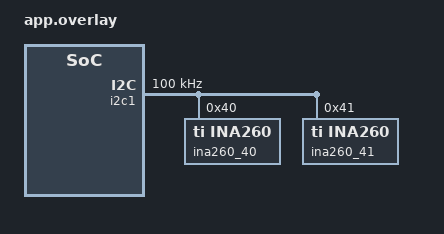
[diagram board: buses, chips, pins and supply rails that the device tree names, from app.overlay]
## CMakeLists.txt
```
cmake_minimum_required(VERSION 3.20.0)
find_package(Zephyr REQUIRED HINTS $ENV{ZEPHYR_BASE})
project(kleo_ina260_sample)
target_sources(app PRIVATE src/main.c)
```

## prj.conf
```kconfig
CONFIG_I2C=y
CONFIG_SENSOR=y
CONFIG_KLEO_INA260=y
CONFIG_INA219=n
CONFIG_PRINTK=y
CONFIG_LORA=n
CONFIG_LORA_SX127X=n
CONFIG_LSM6DSO=n
CONFIG_LSM6DSO_ENABLE_TEMP=n
CONFIG_LIS2MDL=n
CONFIG_TMP112=n
CONFIG_VEML6031=n
CONFIG_RTC=n
CONFIG_RTC_RV3028=n
CONFIG_I2C_TCA954X=n
```

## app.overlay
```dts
&ina219_0 { status = "disabled"; };
&ina219_1 { status = "disabled"; };
&lsm6dso0 { status = "disabled"; };
&lis2mdl0 { status = "disabled"; };
&rtc0 { status = "disabled"; };
&mcp23017 { status = "disabled"; };
&i2c1 {
    status = "okay";
    clock-frequency = <100000>;
    ina260_40: ina260@40 { compatible = "ti,ina260"; reg = <0x40>; };
    ina260_41: ina260@41 { compatible = "ti,ina260"; reg = <0x41>; };
};
```

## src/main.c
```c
/* Build/test candidate only: inherited board startup and deployment need review. */
#include <zephyr/device.h>
#include <zephyr/drivers/sensor.h>
#include <zephyr/kernel.h>
#include <zephyr/sys/printk.h>

static void report(const struct device *dev, unsigned int address)
{
    if (!device_is_ready(dev)) {
        printk("0x%02x: initialization failed; no valid readings\n", address);
        return;
    }
    struct sensor_value v, i, p;
    int rc = sensor_sample_fetch(dev);
    if (rc == 0) { rc = sensor_channel_get(dev, SENSOR_CHAN_VOLTAGE, &v); }
    if (rc == 0) { rc = sensor_channel_get(dev, SENSOR_CHAN_CURRENT, &i); }
    if (rc == 0) { rc = sensor_channel_get(dev, SENSOR_CHAN_POWER, &p); }
    if (rc != 0) {
        printk("0x%02x: sample INVALID, error=%d\n", address, rc);
        return;
    }
    printk("0x%02x: voltage=%lld uV current=%lld uA power=%lld uW\n",
           address, (long long)v.val1 * 1000000 + v.val2,
           (long long)i.val1 * 1000000 + i.val2,
           (long long)p.val1 * 1000000 + p.val2);
}
int main(void)
{
    k_sleep(K_SECONDS(2));
    printk("KLEO INA260 sample: triggered reads, I2C1 GPIO2/3\n");
    /* One owner for fetch + get prevents interleaving across consumers. */
    for (int n = 0; n < 10; ++n) {
        report(DEVICE_DT_GET(DT_NODELABEL(ina260_40)), 0x40);
        report(DEVICE_DT_GET(DT_NODELABEL(ina260_41)), 0x41);
        k_sleep(K_SECONDS(1));
    }
    return 0;
}
```
